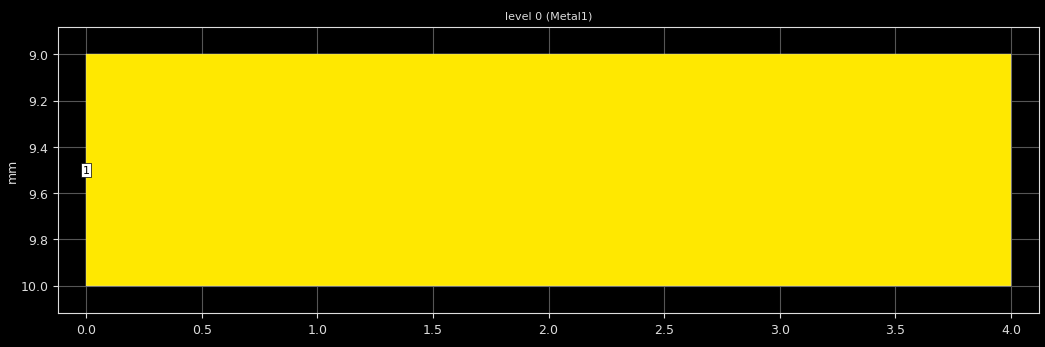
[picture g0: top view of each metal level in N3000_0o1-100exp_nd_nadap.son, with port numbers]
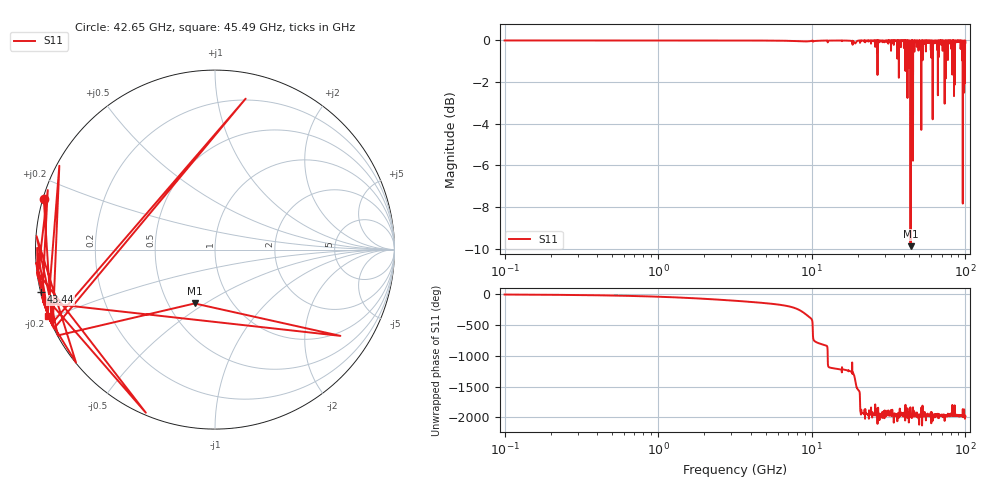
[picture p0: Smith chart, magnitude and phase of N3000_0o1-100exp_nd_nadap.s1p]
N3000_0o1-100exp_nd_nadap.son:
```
FTYP SONPROJ 19 ! Sonnet Project File
VER 18.56
HEADER
LIC sonnet10.72.52417
DAT 03/09/2023 14:17:54
BUILT_BY_CREATED xgeom 18.56 02/17/2023 13:10:04
BUILT_BY_SAVED sonnet 18.56
MDATE 03/04/2023 10:23:07
HDATE 03/04/2023 10:23:07
END HEADER
DIM
ANG DEG
CAP PF
CON /OH
FREQ GHZ
IND NH
LNG MM
RES OH
END DIM
CONTROL
VARSWP
OPTIONS 
SPEED 0
CACHE_ABS 2
Q_ACC N
END CONTROL
GEO
TMET "Lossless" 0 SUP 0 0 0 0
BMET "Lossless" 0 SUP 0 0 0 0
MET "Copper" 1 NOR 58000000 0.5 0.1 
BOX 1 30 15 3000 1500 20 0
      5 1 1 0 0 0 0 "Air"
      1 10 1 0 0 0 0 "Substrate"
TECHLAY METAL Metal1 <UNSPECIFIED> -2 -65534 
0 0 0 N 34 1 1 100 100 0 0 0 Y
END
END
LORGN 0 6.35 U 
POR1 BOX
POLY 24 1
3
1 50 0 0 0 0 9.5 
NUM 1
0 5 0 N 24 1 1 100 100 0 0 0 Y
TLAYNAM Metal1 INH
0 9
4 9
4 10
0 10
0 9
END
END GEO
OPT
MAX 100
END OPT
VARSWP
ENABLED Y
FREQ Y AN ESWEEP 0.1 100.0 3000
END
END VARSWP
FILEOUT
TOUCH D Y $BASENAME.s1p IC 15 S MA R 50.00000
FOLDER .
END FILEOUT
```
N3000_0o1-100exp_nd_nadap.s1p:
! Sonnet Data File
! From: em Version : 18.56
! From Project: N3000_0o1-100exp_nd_nadap
! Data is De-embedded
! Data File Written: 03/09/2023 16:29:52
!< HDATE 03/04/2023 10:23:07
!< MDATE 03/04/2023 10:23:07
# GHZ S MA R 50.00000
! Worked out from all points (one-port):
!   3000 points, 100 MHz to 100 GHz, reference 50 ohm
!   lowest |S11| = -9.9 dB at 43.94 GHz (marker M1), VSWR 1.94, Z = 33.7 - j22.6 ohm
!   |S11| at or under -10 dB: nowhere
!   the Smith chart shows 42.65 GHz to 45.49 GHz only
!   S11 on the Smith chart (normalised r, x): 42.65 GHz: 0.00, +0.14; 43.44 GHz: 0.00, -0.12; 45.49 GHz: 0.00, -0.19
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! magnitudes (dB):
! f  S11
! 100 MHz  0.0
! 1.001 GHz  0.0
! 10.02 GHz  0.0
! 38.36 GHz  0.0
! 42.25 GHz  0.0
! 42.65 GHz  -0.1
! 43.44 GHz  0.0
! 43.94 GHz  -9.9
! 45.49 GHz  0.0
! 45.59 GHz  -5.8
! 47.63 GHz  0.0
! 89.74 GHz  0.0
! 98.85 GHz  0.0
! 100 GHz  -0.1
